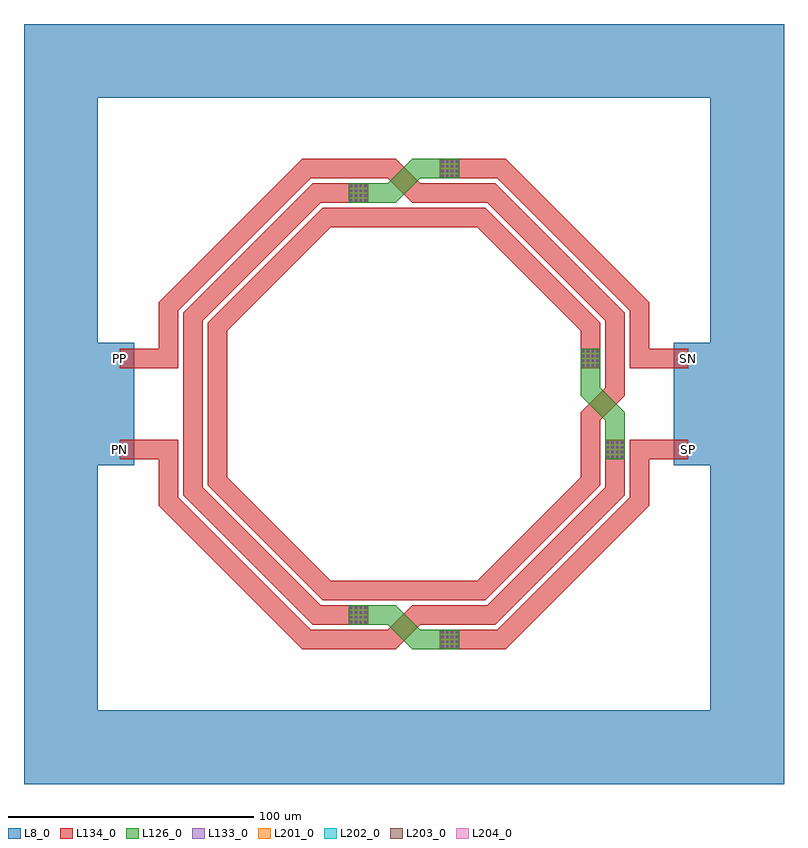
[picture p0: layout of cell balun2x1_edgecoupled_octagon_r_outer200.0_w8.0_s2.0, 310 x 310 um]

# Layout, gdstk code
import gdstk
lib = gdstk.Library(unit=1e-6, precision=1e-09)
def R(c, l, rs):  # rectangles x0, y0, x1, y1
    for r in rs: c.add(gdstk.rectangle(r[:2], r[2:], *l))
def A(c, l, x, y, w, h, nx, ny, dx, dy):  # array of equal rectangles
    R(c, l, [(x+i*dx, y+j*dy, x+i*dx+w, y+j*dy+h) for i in range(nx) for j in range(ny)])
def P(c, l, *ps):  # polygons
    for p in ps: c.add(gdstk.Polygon(p, *l))
L8_0 = (8, 0)
L126_0 = (126, 0)
L133_0 = (133, 0)
L134_0 = (134, 0)
L201_0 = (201, 0)
L202_0 = (202, 0)
L203_0 = (203, 0)
L204_0 = (204, 0)

balun2x1_edgecoupled_oct = lib.new_cell('balun2x1_edgecoupled_octagon_r_outer200.0_w8.0_s2.0')
R(balun2x1_edgecoupled_oct, L8_0, [(-155,-155,-125,155), (-125,-155,125,-125), (125,-155,155,155), (-125,-25,-110,25), (110,-25,125,25), (-125,125,125,155)])
P(balun2x1_edgecoupled_oct, L126_0, [(82,-22.625),(82,-6.655),(72,3.345),(72,22.625),(80,22.625),(80,6.655),(90,-3.345),(90,-22.625)],
  [(-22.625,82),(-22.625,90),(-6.655,90),(3.345,100),(22.625,100),(22.625,92),(6.655,92),(-3.345,82)],
  [(3.345,-100),(-6.655,-90),(-22.625,-90),(-22.625,-82),(-3.345,-82),(6.655,-92),(22.625,-92),(22.625,-100)])
A(balun2x1_edgecoupled_oct, L133_0, 15.235, -99.39, 0.9, 0.9, 4, 4, 1.96, 1.96)
A(balun2x1_edgecoupled_oct, L133_0, -22.015, -89.39, 0.9, 0.9, 4, 4, 1.96, 1.96)
A(balun2x1_edgecoupled_oct, L133_0, 82.61, -22.015, 0.9, 0.9, 4, 4, 1.96, 1.96)
A(balun2x1_edgecoupled_oct, L133_0, 72.61, 15.235, 0.9, 0.9, 4, 4, 1.96, 1.96)
A(balun2x1_edgecoupled_oct, L133_0, -22.015, 82.61, 0.9, 0.9, 4, 4, 1.96, 1.96)
A(balun2x1_edgecoupled_oct, L133_0, 15.235, 92.61, 0.9, 0.9, 4, 4, 1.96, 1.96)
P(balun2x1_edgecoupled_oct, L134_0, [(-33.135,-80),(-80,-33.135),(-80,33.135),(-33.135,80),(33.135,80),(80,33.135),(80,14.625),(72,14.625),(72,29.825),(29.825,72),(-29.825,72),(-72,29.825),(-72,-29.825),(-29.825,-72),(29.825,-72),(72,-29.825),(72,-3.345),(82,6.655),(82,33.965),(33.965,82),(3.345,82),(-6.655,92),(-38.11,92),(-92,38.11),(-92,14.625),(-116,14.625),(-116,22.625),(-100,22.625),(-100,41.42),(-41.42,100),(-3.345,100),(6.655,90),(37.28,90),(90,37.28),(90,3.345),(80,-6.655),(80,-33.135),(33.135,-80)],
  [(-37.28,-90),(-90,-37.28),(-90,37.28),(-37.28,90),(-14.625,90),(-14.625,82),(-33.965,82),(-82,33.965),(-82,-33.965),(-33.965,-82),(-14.625,-82),(-14.625,-90)],
  [(92,14.625),(92,38.11),(38.11,92),(14.625,92),(14.625,100),(41.42,100),(100,41.42),(100,22.625),(116,22.625),(116,14.625)],
  [(-41.42,-100),(-100,-41.42),(-100,-22.625),(-116,-22.625),(-116,-14.625),(-92,-14.625),(-92,-38.11),(-38.11,-92),(-6.655,-92),(3.345,-82),(33.965,-82),(82,-33.965),(82,-14.625),(90,-14.625),(90,-37.28),(37.28,-90),(6.655,-90),(-3.345,-100)],
  [(14.625,-100),(14.625,-92),(38.11,-92),(92,-38.11),(92,-14.625),(116,-14.625),(116,-22.625),(100,-22.625),(100,-41.42),(41.42,-100)])
P(balun2x1_edgecoupled_oct, L201_0, [(-116,14.625),(-116,22.625),(-116,22.625),(-116,14.625)])
P(balun2x1_edgecoupled_oct, L202_0, [(-116,-22.625),(-116,-14.625),(-116,-14.625),(-116,-22.625)])
P(balun2x1_edgecoupled_oct, L203_0, [(116,14.625),(116,22.625),(116,22.625),(116,14.625)])
P(balun2x1_edgecoupled_oct, L204_0, [(116,-22.625),(116,-14.625),(116,-14.625),(116,-22.625)])
balun2x1_edgecoupled_oct.add(gdstk.Label('PP', (-116,18.625), layer=134, texttype=0))
balun2x1_edgecoupled_oct.add(gdstk.Label('PN', (-116,-18.625), layer=134, texttype=0))
balun2x1_edgecoupled_oct.add(gdstk.Label('SN', (116,18.625), layer=134, texttype=0))
balun2x1_edgecoupled_oct.add(gdstk.Label('SP', (116,-18.625), layer=134, texttype=0))

lib.write_gds('balun2x1_edgecoupled_octagon_r_outer200.0_w8.0_s2.0.gds')
